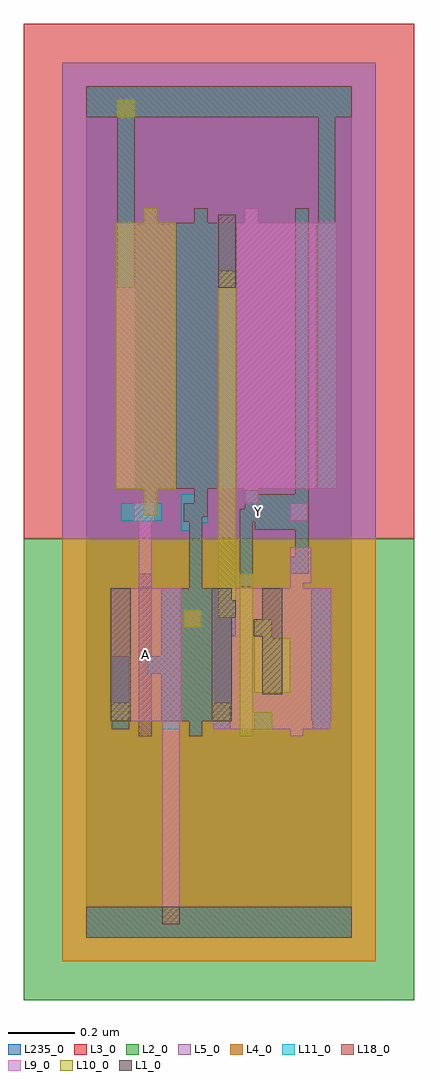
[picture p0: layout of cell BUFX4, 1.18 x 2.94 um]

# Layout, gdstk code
import gdstk
lib = gdstk.Library(unit=1e-6, precision=1e-09)
def R(c, l, rs):  # rectangles x0, y0, x1, y1
    for r in rs: c.add(gdstk.rectangle(r[:2], r[2:], *l))
L1_0 = (1, 0)
L2_0 = (2, 0)
L3_0 = (3, 0)
L4_0 = (4, 0)
L5_0 = (5, 0)
L9_0 = (9, 0)
L10_0 = (10, 0)
L11_0 = (11, 0)
L18_0 = (18, 0)
L235_0 = (235, 0)

bufx4 = lib.new_cell('BUFX4')
R(bufx4, L1_0, [(0.23,0.04,0.282,0.092), (0.23,0.04,0.282,0.092), (0.23,0.04,0.282,0.092), (0.23,0.04,0.282,0.092), (0.074,0.65,0.134,1.05), (0.378,0.65,0.438,1.05), (0.53,0.732,0.59,1.05), (0.078,0.766,0.13,0.818), (0.382,0.766,0.434,0.818), (0.534,0.848,0.586,0.9), (0.504,0.906,0.558,0.958), (0.506,0.906,0.558,0.958), (0.398,0.962,0.45,1.014), (0.398,1.954,0.45,2.174)])
R(bufx4, L2_0, [(-0.188,-0.188,0.988,1.2)])
R(bufx4, L3_0, [(-0.188,1.2,0.988,2.748)])
R(bufx4, L4_0, [(-0.072,-0.072,0.872,1.2)])
R(bufx4, L5_0, [(-0.072,1.2,0.872,2.632)])
R(bufx4, L9_0, [(0.23,0.04,0.282,0.092), (0.23,0.04,0.282,0.678), (0.614,0.606,0.654,1.094), (0.23,0.626,0.282,0.678), (0.23,0.626,0.282,0.678), (0.23,0.626,0.282,0.678), (0.23,0.626,0.282,0.734), (0.382,0.626,0.556,0.678), (0.504,0.626,0.556,0.678), (0.508,0.626,0.734,0.678), (0.682,0.626,0.734,0.678), (0.074,0.65,0.286,1.05), (0.378,0.65,0.59,1.05), (0.53,0.65,0.738,1.05), (0.078,0.794,0.238,0.846), (0.186,0.794,0.238,0.846), (0.398,0.906,0.556,0.958), (0.504,0.906,0.556,0.958), (0.158,1.054,0.198,1.29), (0.614,1.054,0.654,1.13), (0.614,1.066,0.678,1.174), (0.614,1.09,0.674,1.15), (0.144,1.25,0.206,1.31), (0.614,1.254,0.666,1.306), (0.478,1.306,0.518,2.194), (0.09,1.35,0.15,2.15), (0.394,1.35,0.574,2.15), (0.574,1.35,0.754,2.15), (0.394,1.686,0.454,2.15), (0.094,2.094,0.146,2.146)])
R(bufx4, L10_0, [(0.23,0.04,0.282,0.092), (0.23,0.04,0.282,0.092), (0.462,0.606,0.502,1.094), (0.504,0.626,0.56,0.678), (0.078,0.654,0.13,0.706), (0.382,0.654,0.434,0.706), (0.506,0.736,0.614,0.9), (0.534,0.736,0.586,0.788), (0.506,0.848,0.558,0.958), (0.294,0.934,0.346,0.986), (0.398,0.962,0.45,1.014), (0.398,0.962,0.45,2.006), (0.174,1.27,0.214,1.346), (0.174,1.306,0.214,2.194), (0.09,1.35,0.27,2.15), (0.094,2.468,0.146,2.52)])
R(bufx4, L11_0, [(0,0,0.8,0.092), (0.23,0.04,0.282,0.092), (0.31,0.606,0.35,1.094), (0.078,0.626,0.13,0.846), (0.23,0.626,0.282,0.678), (0.382,0.626,0.434,0.678), (0.382,0.626,0.434,0.678), (0.382,0.626,0.434,0.846), (0.508,0.626,0.56,0.678), (0.682,0.626,0.734,0.678), (0.682,0.626,0.734,0.846), (0.226,0.65,0.286,1.05), (0.226,0.65,0.438,1.05), (0.678,0.65,0.738,1.05), (0.23,0.654,0.282,0.706), (0.682,0.654,0.734,0.706), (0.682,0.766,0.734,0.818), (0.078,0.794,0.13,0.846), (0.078,0.794,0.13,0.846), (0.186,0.794,0.434,0.846), (0.382,0.794,0.434,0.846), (0.382,0.794,0.434,0.846), (0.294,0.906,0.45,1.014), (0.31,1.054,0.35,1.286), (0.462,1.054,0.502,1.29), (0.614,1.094,0.666,1.146), (0.618,1.094,0.67,1.146), (0.63,1.11,0.67,1.346), (0.63,1.11,0.67,1.15), (0.63,1.11,0.67,1.15), (0.286,1.222,0.346,1.334), (0.508,1.226,0.666,1.334), (0.29,1.246,0.366,1.306), (0.31,1.246,0.35,1.286), (0.31,1.246,0.35,1.286), (0.294,1.25,0.346,1.302), (0.462,1.25,0.518,1.29), (0.478,1.25,0.518,1.29), (0.106,1.252,0.228,1.306), (0.134,1.254,0.186,1.306), (0.148,1.254,0.2,1.306), (0.294,1.254,0.346,1.306), (0.508,1.254,0.56,1.306), (0.326,1.266,0.366,1.346), (0.166,1.27,0.206,1.31), (0.166,1.27,0.214,1.31), (0.478,1.27,0.518,1.346), (0.326,1.306,0.366,2.194), (0.63,1.306,0.67,2.194), (0.27,1.35,0.454,2.15), (0.694,1.35,0.754,2.15), (0.094,1.954,0.146,2.174), (0.698,1.954,0.75,2.174), (0.094,1.982,0.146,2.034), (0.398,1.982,0.45,2.034), (0.698,1.982,0.75,2.034), (0.398,2.094,0.45,2.146), (0.698,2.094,0.75,2.146), (0.094,2.122,0.146,2.52), (0.698,2.122,0.75,2.174), (0.698,2.122,0.75,2.174), (0.698,2.122,0.75,2.52), (0,2.468,0.8,2.56), (0.094,2.468,0.146,2.52), (0.094,2.468,0.146,2.52), (0.094,2.468,0.146,2.52), (0.094,2.468,0.146,2.52), (0.094,2.468,0.146,2.52), (0.094,2.468,0.146,2.52), (0.094,2.468,0.146,2.52), (0.698,2.468,0.75,2.52), (0.698,2.468,0.75,2.52), (0.698,2.468,0.75,2.52), (0.698,2.468,0.75,2.52), (0.698,2.468,0.75,2.52), (0.698,2.468,0.75,2.52)])
R(bufx4, L18_0, [(0,0,0.8,0.092), (0.158,0.606,0.198,1.094), (0.31,0.606,0.35,1.094), (0.078,0.626,0.13,0.846), (0.382,0.626,0.434,0.846), (0.382,0.626,0.434,0.678), (0.382,0.626,0.434,0.678), (0.508,0.626,0.56,0.678), (0.682,0.626,0.734,0.846), (0.682,0.626,0.734,0.678), (0.226,0.65,0.286,1.05), (0.226,0.65,0.438,1.05), (0.678,0.65,0.738,1.05), (0.23,0.654,0.282,0.706), (0.682,0.654,0.734,0.706), (0.682,0.766,0.734,0.818), (0.186,0.794,0.434,0.846), (0.382,0.794,0.434,0.846), (0.382,0.794,0.434,0.846), (0.294,0.906,0.45,1.014), (0.31,1.054,0.35,1.286), (0.462,1.054,0.502,1.29), (0.614,1.094,0.666,1.146), (0.618,1.094,0.67,1.146), (0.63,1.11,0.67,1.15), (0.63,1.11,0.67,1.15), (0.63,1.11,0.67,1.346), (0.508,1.226,0.666,1.334), (0.31,1.246,0.35,1.286), (0.31,1.246,0.35,1.286), (0.294,1.25,0.346,1.302), (0.462,1.25,0.518,1.29), (0.478,1.25,0.518,1.29), (0.478,1.25,0.564,1.31), (0.294,1.254,0.346,1.306), (0.508,1.254,0.56,1.306), (0.326,1.266,0.366,1.346), (0.478,1.27,0.518,1.346), (0.326,1.306,0.366,2.194), (0.63,1.306,0.67,2.194), (0.27,1.35,0.454,2.15), (0.694,1.35,0.754,2.15), (0.094,1.954,0.146,2.174), (0.698,1.954,0.75,2.174), (0.094,1.982,0.146,2.034), (0.698,1.982,0.75,2.034), (0.698,2.094,0.75,2.146), (0.094,2.122,0.146,2.52), (0.698,2.122,0.75,2.174), (0.698,2.122,0.75,2.174), (0.698,2.122,0.75,2.52), (0,2.468,0.8,2.56), (0.094,2.468,0.146,2.52), (0.094,2.468,0.146,2.52), (0.094,2.468,0.146,2.52), (0.094,2.468,0.146,2.52), (0.094,2.468,0.146,2.52), (0.094,2.468,0.146,2.52), (0.094,2.468,0.146,2.52), (0.698,2.468,0.75,2.52), (0.698,2.468,0.75,2.52), (0.698,2.468,0.75,2.52), (0.698,2.468,0.75,2.52), (0.698,2.468,0.75,2.52), (0.698,2.468,0.75,2.52)])
R(bufx4, L235_0, [(0,0,0.8,2.56)])
bufx4.add(gdstk.Label('A', (0.178,0.85), layer=11, texttype=0))
bufx4.add(gdstk.Label('Y', (0.52,1.28), layer=11, texttype=0))

lib.write_gds('BUFX4.gds')
